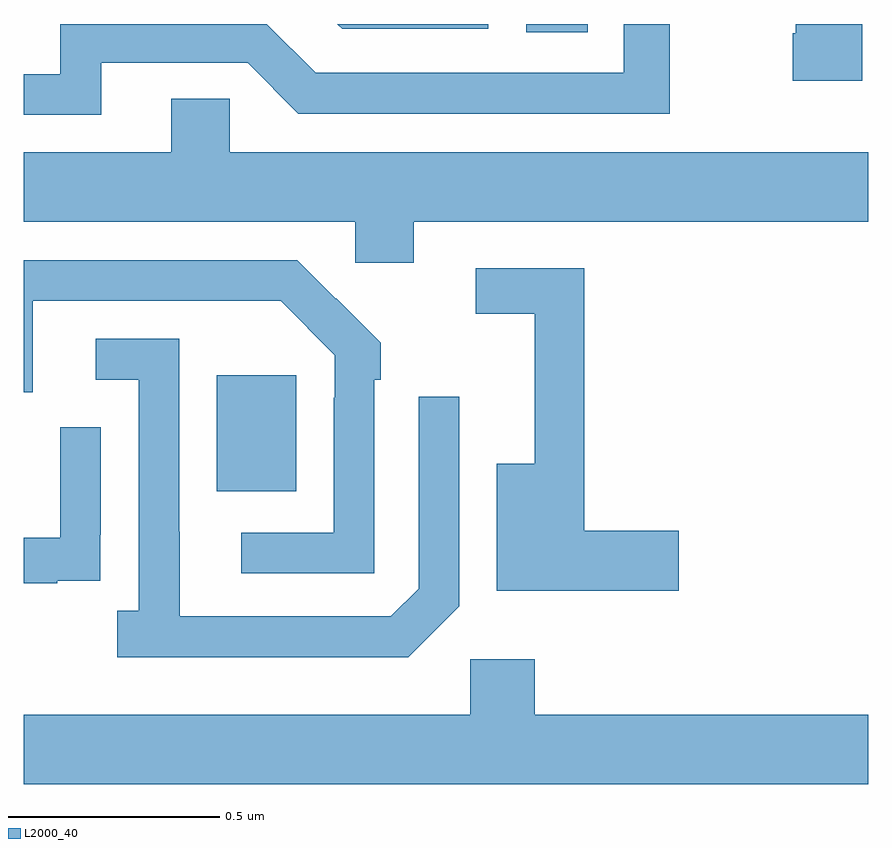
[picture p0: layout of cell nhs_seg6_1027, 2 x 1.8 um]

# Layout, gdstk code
import gdstk
lib = gdstk.Library(unit=1e-6, precision=1e-09)
def R(c, l, rs):  # rectangles x0, y0, x1, y1
    for r in rs: c.add(gdstk.rectangle(r[:2], r[2:], *l))
def P(c, l, *ps):  # polygons
    for p in ps: c.add(gdstk.Polygon(p, *l))
L2000_40 = (2000, 40)

nhs_seg6_1027 = lib.new_cell('nhs_seg6_1027')
R(nhs_seg6_1027, L2000_40, [(124.457,917.393,124.645,917.668), (125.19,918.48,125.336,918.5)])
P(nhs_seg6_1027, L2000_40, [(125.1,918.5),(124.743,918.5),(124.754,918.489),(125.1,918.489)],
  [(124.183,918.408),(124.53,918.408),(124.65,918.288),(125.53,918.288),(125.53,918.5),(125.421,918.5),(125.421,918.384),(124.692,918.384),(124.576,918.5),(124.086,918.5),(124.086,918.381),(124,918.381),(124,918.285),(124.183,918.285)],
  [(125.986,918.5),(125.828,918.5),(125.828,918.478),(125.821,918.478),(125.821,918.366),(125.986,918.366)],
  [(124.924,918.032),(126,918.032),(126,918.196),(124.488,918.196),(124.488,918.323),(124.349,918.323),(124.349,918.196),(124,918.196),(124,918.032),(124.785,918.032),(124.785,917.934),(124.924,917.934)],
  [(124.83,917.657),(124.845,917.657),(124.845,917.745),(124.74,917.85),(124.739,917.849),(124.648,917.94),(124,917.94),(124,917.628),(124.021,917.628),(124.021,917.844),(124.609,917.844),(124.737,917.715),(124.737,917.615),(124.734,917.615),(124.734,917.295),(124.515,917.295),(124.515,917.199),(124.83,917.199)],
  [(125.551,917.3),(125.327,917.3),(125.327,917.922),(125.07,917.922),(125.07,917.814),(125.21,917.814),(125.21,917.458),(125.12,917.458),(125.12,917.158),(125.551,917.158)],
  [(125.031,917.121),(125.031,917.617),(124.935,917.617),(124.935,917.163),(124.869,917.097),(124.369,917.097),(124.369,917.297),(124.368,917.297),(124.368,917.754),(124.17,917.754),(124.17,917.658),(124.272,917.658),(124.272,917.11),(124.221,917.11),(124.221,917),(124.91,917)],
  [(124.079,917.181),(124.181,917.181),(124.181,917.29),(124.182,917.29),(124.182,917.545),(124.086,917.545),(124.086,917.283),(124,917.283),(124,917.175),(124.079,917.175)],
  [(126,916.864),(125.21,916.864),(125.21,916.996),(125.058,916.996),(125.058,916.864),(124,916.864),(124,916.7),(126,916.7)])

lib.write_gds('nhs_seg6_1027.gds')
